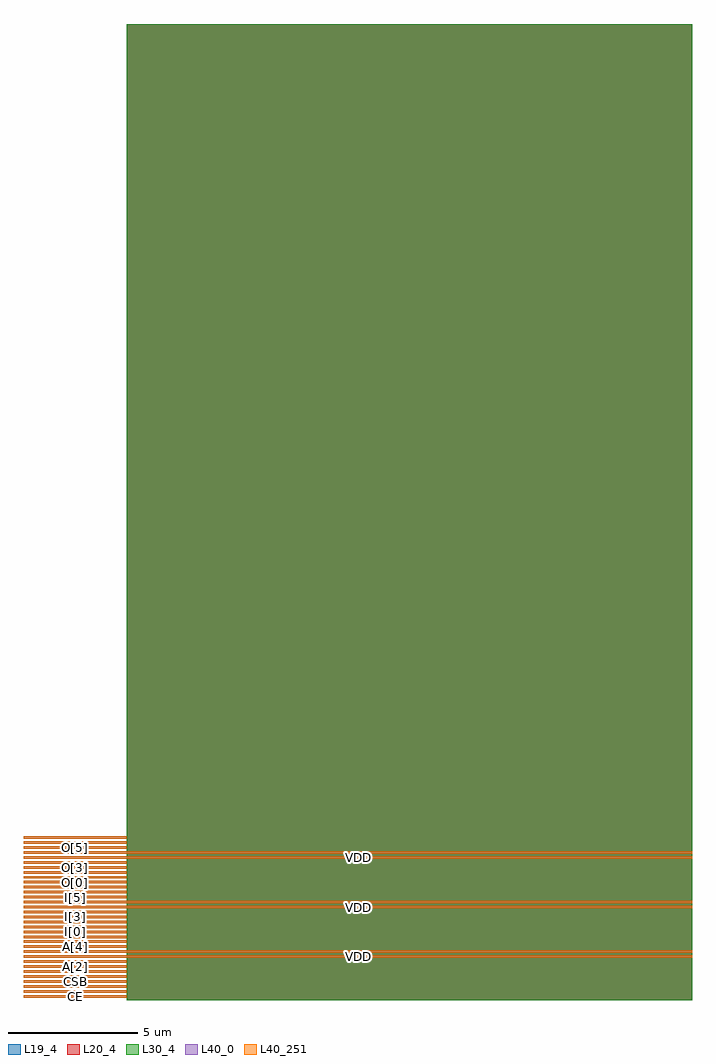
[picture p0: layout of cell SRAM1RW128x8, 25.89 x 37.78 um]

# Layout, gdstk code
import gdstk
lib = gdstk.Library(unit=1e-6, precision=1e-09)
def R(c, l, rs):  # rectangles x0, y0, x1, y1
    for r in rs: c.add(gdstk.rectangle(r[:2], r[2:], *l))
def A(c, l, x, y, w, h, nx, ny, dx, dy):  # array of equal rectangles
    R(c, l, [(x+i*dx, y+j*dy, x+i*dx+w, y+j*dy+h) for i in range(nx) for j in range(ny)])
L19_4 = (19, 4)
L20_4 = (20, 4)
L30_4 = (30, 4)
L40_0 = (40, 0)
L40_251 = (40, 251)

sram1rw128x8 = lib.new_cell('SRAM1RW128x8')
R(sram1rw128x8, L19_4, [(4,0,25.888,37.784)])
R(sram1rw128x8, L20_4, [(4,0,25.888,37.784)])
R(sram1rw128x8, L30_4, [(4,0,25.888,37.784)])
A(sram1rw128x8, L40_0, 0, 0.096, 4, 0.096, 1, 8, 0, 0.192)
A(sram1rw128x8, L40_0, 0, 2.016, 4, 0.096, 1, 8, 0, 0.192)
A(sram1rw128x8, L40_0, 0, 3.936, 4, 0.096, 1, 8, 0, 0.192)
A(sram1rw128x8, L40_0, 0, 5.856, 4, 0.096, 1, 3, 0, 0.192)
R(sram1rw128x8, L40_0, [(0,1.632,25.888,1.728), (0,1.824,25.888,1.92), (0,3.552,25.888,3.648), (0,3.744,25.888,3.84), (0,5.472,25.888,5.568), (0,5.664,25.888,5.76)])
A(sram1rw128x8, L40_251, 0, 0.096, 4, 0.096, 1, 8, 0, 0.192)
A(sram1rw128x8, L40_251, 0, 2.016, 4, 0.096, 1, 8, 0, 0.192)
A(sram1rw128x8, L40_251, 0, 3.936, 4, 0.096, 1, 8, 0, 0.192)
A(sram1rw128x8, L40_251, 0, 5.856, 4, 0.096, 1, 3, 0, 0.192)
R(sram1rw128x8, L40_251, [(0,1.632,25.888,1.728), (0,1.824,25.888,1.92), (0,3.552,25.888,3.648), (0,3.744,25.888,3.84), (0,5.472,25.888,5.568), (0,5.664,25.888,5.76)])
sram1rw128x8.add(gdstk.Label('CE', (2,0.144), layer=40, texttype=0))
sram1rw128x8.add(gdstk.Label('WEB', (2,0.336), layer=40, texttype=0))
sram1rw128x8.add(gdstk.Label('OEB', (2,0.528), layer=40, texttype=0))
sram1rw128x8.add(gdstk.Label('CSB', (2,0.72), layer=40, texttype=0))
sram1rw128x8.add(gdstk.Label('A[0]', (2,0.912), layer=40, texttype=0))
sram1rw128x8.add(gdstk.Label('A[1]', (2,1.104), layer=40, texttype=0))
sram1rw128x8.add(gdstk.Label('A[2]', (2,1.296), layer=40, texttype=0))
sram1rw128x8.add(gdstk.Label('A[3]', (2,1.488), layer=40, texttype=0))
sram1rw128x8.add(gdstk.Label('A[4]', (2,2.064), layer=40, texttype=0))
sram1rw128x8.add(gdstk.Label('A[5]', (2,2.256), layer=40, texttype=0))
sram1rw128x8.add(gdstk.Label('A[6]', (2,2.448), layer=40, texttype=0))
sram1rw128x8.add(gdstk.Label('I[0]', (2,2.64), layer=40, texttype=0))
sram1rw128x8.add(gdstk.Label('I[1]', (2,2.832), layer=40, texttype=0))
sram1rw128x8.add(gdstk.Label('I[2]', (2,3.024), layer=40, texttype=0))
sram1rw128x8.add(gdstk.Label('I[3]', (2,3.216), layer=40, texttype=0))
sram1rw128x8.add(gdstk.Label('I[4]', (2,3.408), layer=40, texttype=0))
sram1rw128x8.add(gdstk.Label('I[5]', (2,3.984), layer=40, texttype=0))
sram1rw128x8.add(gdstk.Label('I[6]', (2,4.176), layer=40, texttype=0))
sram1rw128x8.add(gdstk.Label('I[7]', (2,4.368), layer=40, texttype=0))
sram1rw128x8.add(gdstk.Label('O[0]', (2,4.56), layer=40, texttype=0))
sram1rw128x8.add(gdstk.Label('O[1]', (2,4.752), layer=40, texttype=0))
sram1rw128x8.add(gdstk.Label('O[2]', (2,4.944), layer=40, texttype=0))
sram1rw128x8.add(gdstk.Label('O[3]', (2,5.136), layer=40, texttype=0))
sram1rw128x8.add(gdstk.Label('O[4]', (2,5.328), layer=40, texttype=0))
sram1rw128x8.add(gdstk.Label('O[5]', (2,5.904), layer=40, texttype=0))
sram1rw128x8.add(gdstk.Label('O[6]', (2,6.096), layer=40, texttype=0))
sram1rw128x8.add(gdstk.Label('O[7]', (2,6.288), layer=40, texttype=0))
sram1rw128x8.add(gdstk.Label('VDD', (12.944,1.68), layer=40, texttype=0))
sram1rw128x8.add(gdstk.Label('VDD', (12.944,3.6), layer=40, texttype=0))
sram1rw128x8.add(gdstk.Label('VDD', (12.944,5.52), layer=40, texttype=0))
sram1rw128x8.add(gdstk.Label('VSS', (12.944,1.872), layer=40, texttype=0))
sram1rw128x8.add(gdstk.Label('VSS', (12.944,3.792), layer=40, texttype=0))
sram1rw128x8.add(gdstk.Label('VSS', (12.944,5.712), layer=40, texttype=0))

lib.write_gds('SRAM1RW128x8.gds')
